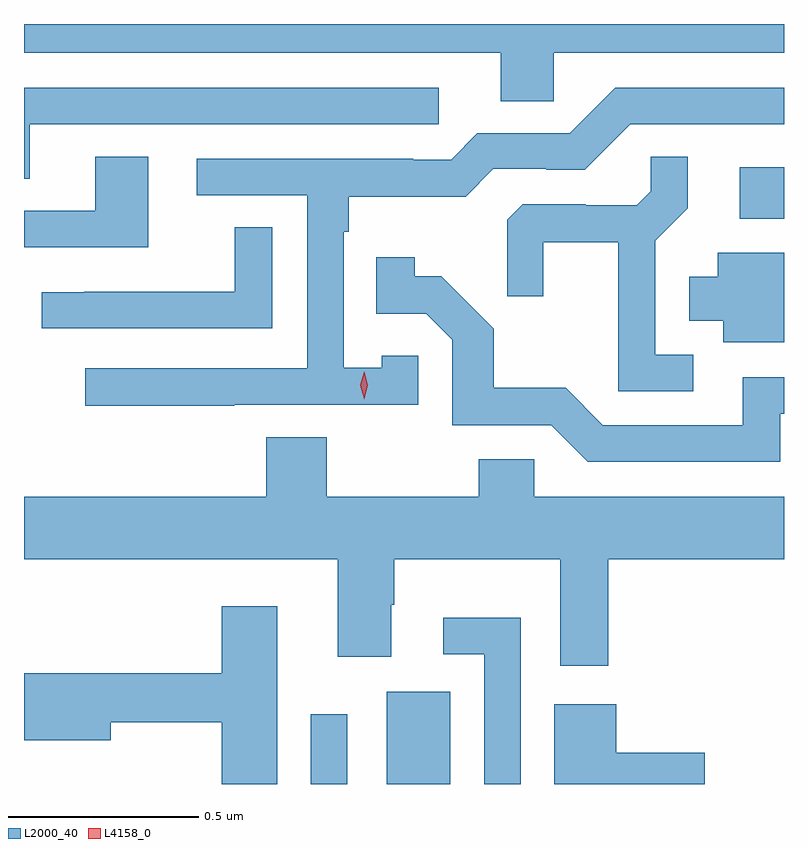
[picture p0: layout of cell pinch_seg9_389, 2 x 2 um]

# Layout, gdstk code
import gdstk
lib = gdstk.Library(unit=1e-6, precision=1e-09)
def R(c, l, rs):  # rectangles x0, y0, x1, y1
    for r in rs: c.add(gdstk.rectangle(r[:2], r[2:], *l))
def P(c, l, *ps):  # polygons
    for p in ps: c.add(gdstk.Polygon(p, *l))
L2000_40 = (2000, 40)
L4158_0 = (4158, 0)

pinch_seg9_389 = lib.new_cell('pinch_seg9_389')
R(pinch_seg9_389, L2000_40, [(384.477,1210.48,384.573,1210.663), (384.677,1210.48,384.844,1210.723), (385.605,1211.967,385.722,1212.103)])
P(pinch_seg9_389, L2000_40, [(385.116,1212.404),(385.722,1212.404),(385.722,1212.48),(383.722,1212.48),(383.722,1212.404),(384.977,1212.404),(384.977,1212.277),(385.116,1212.277)],
  [(383.737,1212.216),(384.814,1212.216),(384.814,1212.312),(383.722,1212.312),(383.722,1212.073),(383.737,1212.073)],
  [(384.275,1211.478),(384.759,1211.478),(384.759,1211.607),(384.663,1211.607),(384.663,1211.575),(384.564,1211.575),(384.564,1211.933),(384.577,1211.933),(384.577,1212.026),(384.884,1212.026),(384.957,1212.099),(385.096,1212.099),(385.096,1212.096),(385.197,1212.096),(385.317,1212.216),(385.722,1212.216),(385.722,1212.312),(385.278,1212.312),(385.158,1212.192),(384.915,1212.192),(384.846,1212.123),(384.746,1212.123),(384.746,1212.126),(384.177,1212.126),(384.177,1212.03),(384.468,1212.03),(384.468,1211.574),(383.883,1211.574),(383.883,1211.476),(384.275,1211.476)],
  [(385.483,1211.61),(385.383,1211.61),(385.383,1211.909),(385.469,1211.995),(385.469,1212.131),(385.371,1212.131),(385.371,1212.04),(385.334,1212.003),(385.2,1212.003),(385.2,1212.006),(385.035,1212.006),(384.994,1211.965),(384.994,1211.763),(385.088,1211.763),(385.088,1211.906),(385.286,1211.906),(385.286,1211.514),(385.483,1211.514)],
  [(384.049,1212.131),(383.909,1212.131),(383.909,1211.988),(383.722,1211.988),(383.722,1211.892),(384.049,1211.892)],
  [(384.375,1211.945),(384.277,1211.945),(384.277,1211.775),(383.881,1211.775),(383.881,1211.774),(383.769,1211.774),(383.769,1211.679),(384.375,1211.679)],
  [(385.722,1211.878),(385.547,1211.878),(385.547,1211.815),(385.472,1211.815),(385.472,1211.699),(385.562,1211.699),(385.562,1211.642),(385.722,1211.642)],
  [(385.712,1211.454),(385.722,1211.454),(385.722,1211.55),(385.613,1211.55),(385.613,1211.424),(385.245,1211.424),(385.147,1211.523),(384.958,1211.523),(384.958,1211.678),(384.82,1211.816),(384.75,1211.816),(384.75,1211.866),(384.649,1211.866),(384.649,1211.718),(384.78,1211.718),(384.849,1211.649),(384.849,1211.424),(385.11,1211.424),(385.206,1211.328),(385.712,1211.328)],
  [(384.359,1211.393),(384.359,1211.236),(383.722,1211.236),(383.722,1211.072),(384.548,1211.072),(384.548,1210.815),(384.688,1210.815),(384.688,1210.952),(384.696,1210.952),(384.696,1211.072),(385.133,1211.072),(385.133,1210.791),(385.259,1210.791),(385.259,1211.072),(385.722,1211.072),(385.722,1211.236),(385.065,1211.236),(385.065,1211.334),(384.919,1211.334),(384.919,1211.236),(384.519,1211.236),(384.519,1211.393)],
  [(384.388,1210.948),(384.242,1210.948),(384.242,1210.771),(383.722,1210.771),(383.722,1210.595),(383.95,1210.595),(383.95,1210.642),(384.242,1210.642),(384.242,1210.48),(384.388,1210.48)],
  [(385.029,1210.918),(384.825,1210.918),(384.825,1210.821),(384.933,1210.821),(384.933,1210.48),(385.029,1210.48)],
  [(385.513,1210.562),(385.28,1210.562),(385.28,1210.69),(385.118,1210.69),(385.118,1210.48),(385.513,1210.48)])
P(pinch_seg9_389, L4158_0, [(384.617,1211.493),(384.617,1211.494),(384.607,1211.529),(384.618,1211.565),(384.618,1211.565),(384.618,1211.565),(384.627,1211.529),(384.617,1211.494)])

lib.write_gds('pinch_seg9_389.gds')
